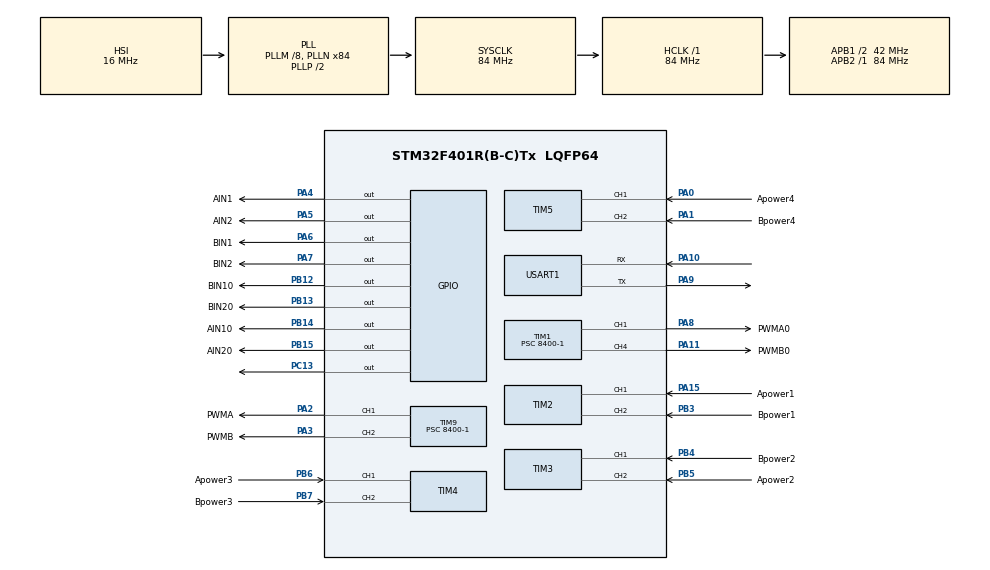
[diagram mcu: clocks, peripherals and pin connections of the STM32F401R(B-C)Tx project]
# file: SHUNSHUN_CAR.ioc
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Mcu.Family=STM32F4
Mcu.Name=STM32F401R(B-C)Tx
Mcu.Package=LQFP64
NVIC.PriorityGroup=NVIC_PRIORITYGROUP_4
NVIC.TIM1_UP_TIM10_IRQn=true\:1\:0\:true\:false\:true\:false\:true\:true
NVIC.USART1_IRQn=true\:1\:0\:true\:false\:true\:true\:true\:true
PA0-WKUP.GPIO_Label=Apower4
PA0-WKUP.Signal=S_TIM5_CH1
PA1.GPIO_Label=Bpower4
PA1.Signal=S_TIM5_CH2
PA10.Mode=Asynchronous
PA10.Signal=USART1_RX
PA11.GPIO_Label=PWMB0
PA11.Signal=S_TIM1_CH4
PA13.Mode=Serial_Wire
PA13.Signal=SYS_JTMS-SWDIO
PA14.Mode=Serial_Wire
PA14.Signal=SYS_JTCK-SWCLK
PA15.GPIO_Label=Apower1
PA15.Signal=S_TIM2_CH1_ETR
PA2.GPIO_Label=PWMA
PA2.Signal=S_TIM9_CH1
PA3.GPIO_Label=PWMB
PA3.Signal=S_TIM9_CH2
PA4.GPIO_Label=AIN1
PA4.Signal=GPIO_Output
PA5.GPIO_Label=AIN2
PA5.Signal=GPIO_Output
PA6.GPIO_Label=BIN1
PA6.Signal=GPIO_Output
PA7.GPIO_Label=BIN2
PA7.Signal=GPIO_Output
PA8.GPIO_Label=PWMA0
PA8.Signal=S_TIM1_CH1
PA9.Mode=Asynchronous
PA9.Signal=USART1_TX
PB12.GPIO_Label=BIN10
PB12.Signal=GPIO_Output
PB13.GPIO_Label=BIN20
PB13.Signal=GPIO_Output
PB14.GPIO_Label=AIN10
PB14.Signal=GPIO_Output
PB15.GPIO_Label=AIN20
PB15.Signal=GPIO_Output
PB3.GPIO_Label=Bpower1
PB3.Signal=S_TIM2_CH2
PB4.GPIO_Label=Bpower2
PB4.Signal=S_TIM3_CH1
PB5.GPIO_Label=Apower2
PB5.Signal=S_TIM3_CH2
PB6.GPIO_Label=Apower3
PB6.Signal=S_TIM4_CH1
PB7.GPIO_Label=Bpower3
PB7.Signal=S_TIM4_CH2
PC13-ANTI_TAMP.Signal=GPIO_Output
PH0\ -\ OSC_IN.Mode=HSE-External-Oscillator
PH0\ -\ OSC_IN.Signal=RCC_OSC_IN
PH1\ -\ OSC_OUT.Mode=HSE-External-Oscillator
PH1\ -\ OSC_OUT.Signal=RCC_OSC_OUT
ProjectManager.HeapSize=0x200
ProjectManager.StackSize=0x400
ProjectManager.TargetToolchain=MDK-ARM V5.32
RCC.48MHZClocksFreq_Value=42000000
RCC.AHBFreq_Value=84000000
RCC.APB1CLKDivider=RCC_HCLK_DIV2
RCC.APB1Freq_Value=42000000
RCC.APB1TimFreq_Value=84000000
RCC.APB2Freq_Value=84000000
RCC.APB2TimFreq_Value=84000000
RCC.CortexFreq_Value=84000000
RCC.HCLKFreq_Value=84000000
RCC.HSE_VALUE=25000000
RCC.HSI_VALUE=16000000
RCC.LSE_VALUE=32768
RCC.PLLM=8
RCC.PLLN=84
RCC.SYSCLKFreq_VALUE=84000000
RCC.SYSCLKSource=RCC_SYSCLKSOURCE_PLLCLK
RCC.VCOOutputFreq_Value=168000000
SH.S_TIM1_CH1.0=TIM1_CH1,PWM Generation1 CH1
SH.S_TIM1_CH4.0=TIM1_CH4,PWM Generation4 CH4
SH.S_TIM2_CH1_ETR.0=TIM2_CH1,Encoder_Interface
SH.S_TIM2_CH2.0=TIM2_CH2,Encoder_Interface
SH.S_TIM3_CH1.0=TIM3_CH1,Encoder_Interface
SH.S_TIM3_CH2.0=TIM3_CH2,Encoder_Interface
SH.S_TIM4_CH1.0=TIM4_CH1,Encoder_Interface
SH.S_TIM4_CH2.0=TIM4_CH2,Encoder_Interface
SH.S_TIM5_CH1.0=TIM5_CH1,Encoder_Interface
SH.S_TIM5_CH2.0=TIM5_CH2,Encoder_Interface
SH.S_TIM9_CH1.0=TIM9_CH1,PWM Generation1 CH1
SH.S_TIM9_CH2.0=TIM9_CH2,PWM Generation2 CH2
TIM1.AutoReloadPreload=TIM_AUTORELOAD_PRELOAD_ENABLE
TIM1.Channel-PWM\ Generation1\ CH1=TIM_CHANNEL_1
TIM1.Channel-PWM\ Generation4\ CH4=TIM_CHANNEL_4
TIM1.Period=100-1
TIM1.Prescaler=8400-1
<<<<<<< HEAD
TIM2.EncoderMode=TIM_ENCODERMODE_TI12
TIM3.EncoderMode=TIM_ENCODERMODE_TI12
TIM4.EncoderMode=TIM_ENCODERMODE_TI12
TIM5.EncoderMode=TIM_ENCODERMODE_TI12
=======
>>>>>>> 8a274eeea5e1c58bf1cf451062b760e3f76587d0
TIM9.AutoReloadPreload=TIM_AUTORELOAD_PRELOAD_ENABLE
TIM9.Channel-PWM\ Generation1\ CH1=TIM_CHANNEL_1
TIM9.Channel-PWM\ Generation2\ CH2=TIM_CHANNEL_2
TIM9.Period=100-1
TIM9.Prescaler=8400-1
USART1.VirtualMode=VM_ASYNC
VP_TIM1_VS_ClockSourceINT.Mode=Internal
VP_TIM9_VS_ClockSourceINT.Mode=Internal
board=custom

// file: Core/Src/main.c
/* USER CODE BEGIN Header */
/**
  ******************************************************************************
  * @file           : main.c
  * @brief          : Main program body
  ******************************************************************************
  * @attention
  *
  * Copyright (c) 2025 STMicroelectronics.
  * All rights reserved.
  *
  * This software is licensed under terms that can be found in the LICENSE file
  * in the root directory of this software component.
  * If no LICENSE file comes with this software, it is provided AS-IS.
  *
  ******************************************************************************
  */
/* USER CODE END Header */
#include "main.h"
#include "tim.h"
#include "usart.h"
#include "gpio.h"

/* USER CODE BEGIN Includes */

#include <pid.h>
#include <encoder.h>
<<<<<<< HEAD
#include <stdbool.h>
=======

>>>>>>> 8a274eeea5e1c58bf1cf451062b760e3f76587d0
#include <AUNO.h>
#include <stdio.h>
#include <string.h>
#include "math.h"
#include <motor.h>
#include <JY61.h>
#include <stdlib.h>
/* USER CODE END Includes */

/* USER CODE BEGIN PV */

float yaw_offset = 0;
<<<<<<< HEAD
float NO1_yaw;

=======
float target_yaw;       // Ŀ��Ƕ�
float NO1_yaw;
>>>>>>> 8a274eeea5e1c58bf1cf451062b760e3f76587d0

/* USER CODE END PV */

void SystemClock_Config(void);

int main(void)
{

  /* MCU Configuration--------------------------------------------------------*/

  /* Reset of all peripherals, Initializes the Flash interface and the Systick. */
  HAL_Init();
<<<<<<< HEAD

=======

>>>>>>> 8a274eeea5e1c58bf1cf451062b760e3f76587d0

  /* Configure the system clock */
  SystemClock_Config();

<<<<<<< HEAD
=======

>>>>>>> 8a274eeea5e1c58bf1cf451062b760e3f76587d0

  /* Initialize all configured peripherals */
  MX_GPIO_Init();
  MX_TIM1_Init();
  MX_TIM2_Init();
  MX_TIM3_Init();
  MX_TIM4_Init();
  MX_TIM5_Init();
  MX_TIM9_Init();
  MX_USART1_UART_Init();
<<<<<<< HEAD
=======
  // debug: toggle PC13 to mark progress after MX_USART1_UART_Init
//  HAL_GPIO_TogglePin(GPIOC, GPIO_PIN_13);
>>>>>>> 8a274eeea5e1c58bf1cf451062b760e3f76587d0
  /* USER CODE BEGIN 2 */
	__HAL_UART_ENABLE_IT(&huart1,UART_IT_RXNE);
HAL_UART_Receive_IT(&huart1, (uint8_t *)&RxByte, 1);
    // debug: toggle PC13 to mark progress after starting UART receive
//    HAL_GPIO_TogglePin(GPIOC, GPIO_PIN_13);
HAL_TIM_Encoder_Start (&htim2,TIM_CHANNEL_ALL);
HAL_TIM_Encoder_Start (&htim3,TIM_CHANNEL_ALL);
HAL_TIM_Encoder_Start (&htim4,TIM_CHANNEL_ALL);
HAL_TIM_Encoder_Start (&htim5,TIM_CHANNEL_ALL);
HAL_TIM_PWM_Start(&htim1, TIM_CHANNEL_1);
HAL_TIM_PWM_Start(&htim1, TIM_CHANNEL_4);
HAL_TIM_PWM_Start(&htim9, TIM_CHANNEL_1);
HAL_TIM_PWM_Start(&htim9, TIM_CHANNEL_2);
HAL_TIM_Base_Start_IT(&htim1);
<<<<<<< HEAD
=======
static float target_yaw = 0;
  {
    // atomic read of stcAngle.Angle[2] using sequence counter
    uint8_t s1, s2;
    short angle_raw;
    do {
      s1 = stcAngle_seq;
      angle_raw = stcAngle.Angle[2];
      s2 = stcAngle_seq;
    } while (s1 != s2);
    current_yaw = ((float)angle_raw) / 32768.0f * 180.0f;
    target_yaw = current_yaw;
  }
>>>>>>> 8a274eeea5e1c58bf1cf451062b760e3f76587d0

  /* USER CODE END 2 */

  /* Infinite loop */
  while (1)
  {

    /* USER CODE BEGIN 3 */
    UART_ProcessBuffer();
  }
  /* USER CODE END 3 */
}

void SystemClock_Config(void)
{
  RCC_OscInitTypeDef RCC_OscInitStruct = {0};
  RCC_ClkInitTypeDef RCC_ClkInitStruct = {0};

  /** Configure the main internal regulator output voltage
  */
  __HAL_RCC_PWR_CLK_ENABLE();
  __HAL_PWR_VOLTAGESCALING_CONFIG(PWR_REGULATOR_VOLTAGE_SCALE2);

  /** Initializes the RCC Oscillators according to the specified parameters
  * in the RCC_OscInitTypeDef structure.
  */
  RCC_OscInitStruct.OscillatorType = RCC_OSCILLATORTYPE_HSI;
  RCC_OscInitStruct.HSIState = RCC_HSI_ON;
  RCC_OscInitStruct.HSICalibrationValue = RCC_HSICALIBRATION_DEFAULT;
  RCC_OscInitStruct.PLL.PLLState = RCC_PLL_ON;
  RCC_OscInitStruct.PLL.PLLSource = RCC_PLLSOURCE_HSI;
  RCC_OscInitStruct.PLL.PLLM = 8;
  RCC_OscInitStruct.PLL.PLLN = 84;
  RCC_OscInitStruct.PLL.PLLP = RCC_PLLP_DIV2;
  RCC_OscInitStruct.PLL.PLLQ = 4;
  if (HAL_RCC_OscConfig(&RCC_OscInitStruct) != HAL_OK)
  {
    Error_Handler();
  }

  /** Initializes the CPU, AHB and APB buses clocks
  */
  RCC_ClkInitStruct.ClockType = RCC_CLOCKTYPE_HCLK|RCC_CLOCKTYPE_SYSCLK
                              |RCC_CLOCKTYPE_PCLK1|RCC_CLOCKTYPE_PCLK2;
  RCC_ClkInitStruct.SYSCLKSource = RCC_SYSCLKSOURCE_PLLCLK;
  RCC_ClkInitStruct.AHBCLKDivider = RCC_SYSCLK_DIV1;
  RCC_ClkInitStruct.APB1CLKDivider = RCC_HCLK_DIV2;
  RCC_ClkInitStruct.APB2CLKDivider = RCC_HCLK_DIV1;

  if (HAL_RCC_ClockConfig(&RCC_ClkInitStruct, FLASH_LATENCY_2) != HAL_OK)
  {
    Error_Handler();
  }
}

void Error_Handler(void)
{
  __disable_irq();
  while (1)
  {
  }
}
